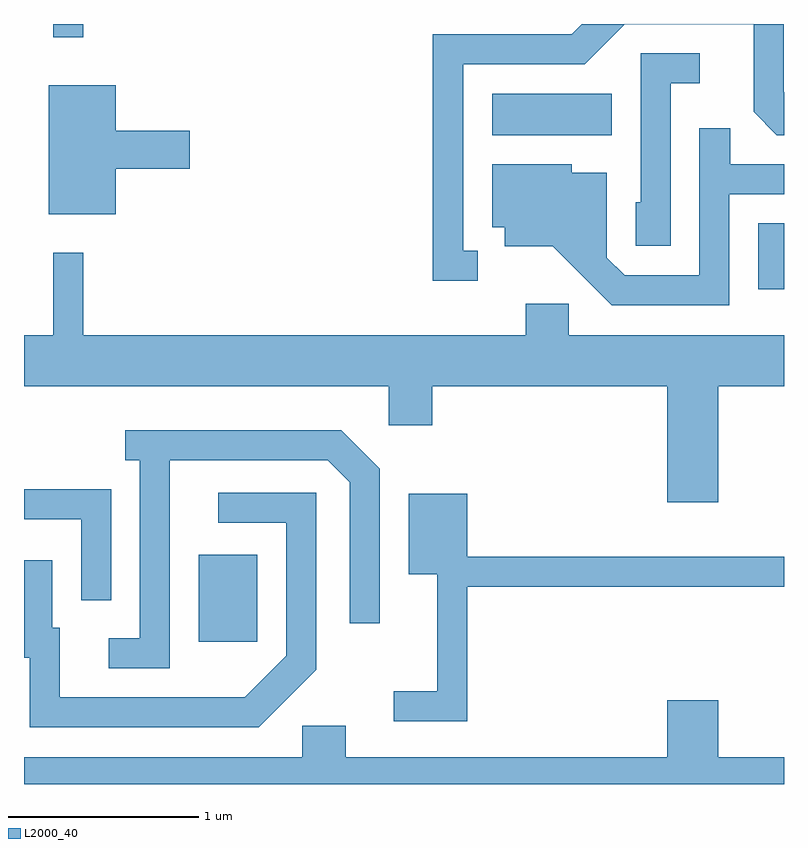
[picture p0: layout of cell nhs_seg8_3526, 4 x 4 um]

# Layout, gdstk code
import gdstk
lib = gdstk.Library(unit=1e-6, precision=1e-09)
def R(c, l, rs):  # rectangles x0, y0, x1, y1
    for r in rs: c.add(gdstk.rectangle(r[:2], r[2:], *l))
def P(c, l, *ps):  # polygons
    for p in ps: c.add(gdstk.Polygon(p, *l))
L2000_40 = (2000, 40)

nhs_seg8_3526 = lib.new_cell('nhs_seg8_3526')
R(nhs_seg8_3526, L2000_40, [(292.531,1815.091,292.839,1815.549), (295.476,1816.946,295.611,1817.294), (294.076,1817.756,294.704,1817.974), (291.766,1818.273,291.924,1818.342)])
P(nhs_seg8_3526, L2000_40, [(293.998,1817.149),(293.924,1817.149),(293.924,1818.131),(294.562,1818.131),(294.772,1818.341),(295.451,1818.341),(295.451,1817.879),(295.574,1817.756),(295.611,1817.756),(295.611,1817.984),(295.609,1817.984),(295.609,1818.342),(294.547,1818.342),(294.494,1818.289),(293.761,1818.289),(293.761,1816.991),(293.998,1816.991)],
  [(295.014,1818.031),(295.168,1818.031),(295.168,1818.189),(294.856,1818.189),(294.856,1817.404),(294.831,1817.404),(294.831,1817.176),(295.014,1817.176)],
  [(292.094,1817.581),(292.484,1817.581),(292.484,1817.779),(292.094,1817.779),(292.094,1818.019),(291.741,1818.019),(291.741,1817.341),(292.094,1817.341)],
  [(295.324,1817.446),(295.611,1817.446),(295.611,1817.604),(295.329,1817.604),(295.329,1817.793),(295.166,1817.793),(295.166,1817.019),(294.772,1817.019),(294.679,1817.112),(294.679,1817.559),(294.494,1817.559),(294.494,1817.604),(294.076,1817.604),(294.076,1817.271),(294.141,1817.271),(294.141,1817.171),(294.394,1817.171),(294.704,1816.861),(295.324,1816.861)],
  [(295.264,1816.436),(295.611,1816.436),(295.611,1816.704),(294.479,1816.704),(294.479,1816.869),(294.251,1816.869),(294.251,1816.704),(291.924,1816.704),(291.924,1817.138),(291.766,1817.138),(291.766,1816.704),(291.611,1816.704),(291.611,1816.436),(293.531,1816.436),(293.531,1816.231),(293.759,1816.231),(293.759,1816.436),(294.996,1816.436),(294.996,1815.826),(295.264,1815.826)],
  [(292.379,1816.046),(293.209,1816.046),(293.326,1815.929),(293.326,1815.188),(293.484,1815.188),(293.484,1816.002),(293.282,1816.204),(292.143,1816.204),(292.143,1816.046),(292.221,1816.046),(292.221,1815.109),(292.058,1815.109),(292.058,1814.951),(292.379,1814.951)],
  [(292.069,1815.894),(291.611,1815.894),(291.611,1815.736),(291.911,1815.736),(291.911,1815.308),(292.069,1815.308)],
  [(293.149,1814.944),(293.149,1815.874),(292.633,1815.874),(292.633,1815.716),(292.991,1815.716),(292.991,1815.017),(292.774,1814.799),(291.799,1814.799),(291.799,1815.164),(291.759,1815.164),(291.759,1815.519),(291.611,1815.519),(291.611,1815.006),(291.641,1815.006),(291.641,1814.641),(292.847,1814.641)],
  [(293.944,1815.381),(295.611,1815.381),(295.611,1815.539),(293.944,1815.539),(293.944,1815.869),(293.636,1815.869),(293.636,1815.446),(293.786,1815.446),(293.786,1814.829),(293.558,1814.829),(293.558,1814.671),(293.944,1814.671)],
  [(295.611,1814.484),(295.264,1814.484),(295.264,1814.784),(294.996,1814.784),(294.996,1814.484),(293.304,1814.484),(293.304,1814.649),(293.076,1814.649),(293.076,1814.484),(291.611,1814.484),(291.611,1814.342),(295.611,1814.342)])

lib.write_gds('nhs_seg8_3526.gds')
